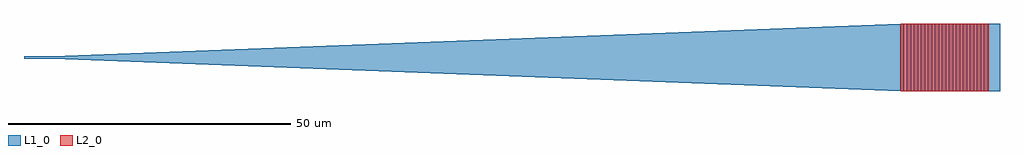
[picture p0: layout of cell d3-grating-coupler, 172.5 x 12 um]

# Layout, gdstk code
import gdstk
lib = gdstk.Library(unit=1e-6, precision=1e-09)
def R(c, l, rs):  # rectangles x0, y0, x1, y1
    for r in rs: c.add(gdstk.rectangle(r[:2], r[2:], *l))
def A(c, l, x, y, w, h, nx, ny, dx, dy):  # array of equal rectangles
    R(c, l, [(x+i*dx, y+j*dy, x+i*dx+w, y+j*dy+h) for i in range(nx) for j in range(ny)])
def P(c, l, *ps):  # polygons
    for p in ps: c.add(gdstk.Polygon(p, *l))
L1_0 = (1, 0)
L2_0 = (2, 0)

d3_grating_coupler = lib.new_cell('d3-grating-coupler')
A(d3_grating_coupler, L1_0, 0.31, -6, 0.31, 12, 25, 1, 0.62, 0)
R(d3_grating_coupler, L1_0, [(15.5,-6,17.5,6)])
P(d3_grating_coupler, L1_0, [(0,-6),(-150,-0.25),(-155,-0.25),(-155,0.25),(-150,0.25),(0,6)])
R(d3_grating_coupler, L2_0, [(0,-6,15.5,6)])

lib.write_gds('d3-grating-coupler.gds')
